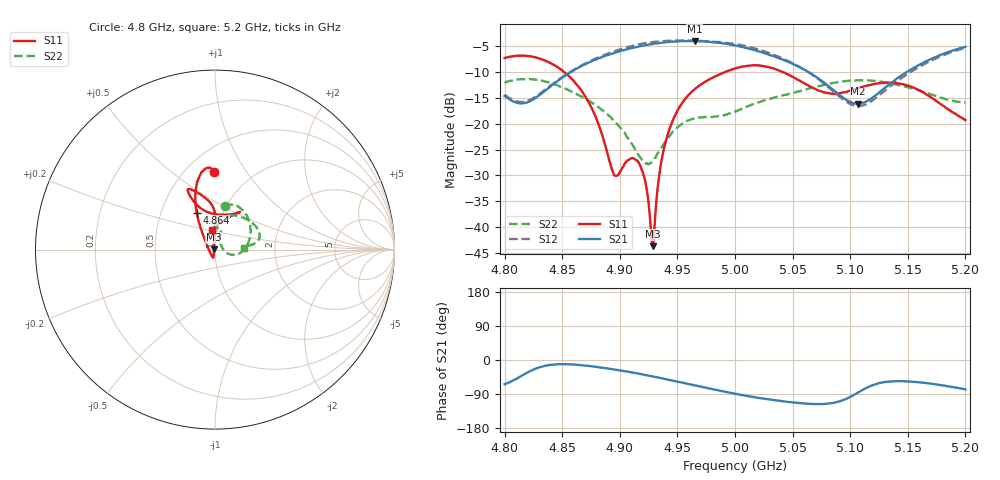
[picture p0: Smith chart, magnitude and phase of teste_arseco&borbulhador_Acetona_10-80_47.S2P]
! Network Analyzer HP8722D
! Hewlett-Packard
! Data name: Linha & Wilkinson
! Saver's name: Rodrigo Anjos
! Comments: Teste da utilização de aquisição
! continua pelo VNA HP8722D
! Time and date: 25/4/2025 15:39
!  Frequency  S11  S21  S12  S22
# HZ  S  MA R 50
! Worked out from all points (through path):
!   401 points, 4.8 GHz to 5.2 GHz, reference 50 ohm
!   highest |S21| = -3.94 dB at 4.965 GHz (marker M1); lowest = -16.1 dB at 5.107 GHz (marker M2)
!   lowest |S11| = -43.7 dB at 4.929 GHz (marker M3), VSWR 1.01, Z = 49.4 + j0.268 ohm
!   |S11| at or under -10 dB: 4.852 GHz to 4.991 GHz (139.2 MHz wide, 2.83 % of centre); 5.042 GHz to end of sweep
!   |S22| runs from -27.8 to -11.3 dB; largest |S21 - S12| = 1.2
!   S11 on the Smith chart (normalised r, x): 4.8 GHz: 0.68, +0.72; 4.864 GHz: 0.75, +0.33; 5.2 GHz: 0.94, +0.20
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4.8e9  0.4334 90.5  0.1863 -63.9  0.1913 69.6  0.2489 77.2
4.82e9  0.4526 96.8  0.1617 -32.5  0.1673 98.3  0.271 62.0
4.864e9  0.2302 116.3  0.3498 -13.0  0.3527 121.0  0.19 11.8
4.867e9  0.2072 118.0  0.3646 -13.8  0.3681 120.6  0.1827 8.6
4.88e9  0.1098 128.2  0.4231 -18.4  0.4332 118.3  0.1483 -5.4
4.895e9  0.03171 -171.1  0.4866 -24.9  0.5025 113.7  0.107 -15.9
4.909e9  0.04577 -105.5  0.5378 -32.0  0.5625 107.5  0.06729 -15.2
4.917e9  0.04079 -100.9  0.5626 -36.4  0.5906 103.5  0.04802 -1.8
4.922e9  0.028 -103.9  0.5767 -39.2  0.6036 100.7  0.04153 15.2
4.927e9  0.009368 -132.1  0.5902 -42.3  0.6167 97.5  0.04185 36.8
4.929e9  0.00652 155.5  0.594 -43.6  0.6212 96.5  0.04383 44.8
4.934e9  0.03042 99.3  0.6047 -46.8  0.6299 93.3  0.05387 58.3
4.939e9  0.06149 92.3  0.6159 -49.9  0.6358 90.0  0.06601 65.9
4.945e9  0.1011 89.8  0.6231 -53.8  0.6398 86.4  0.08108 70.4
4.965e9  0.2166 90.8  0.6351 -66.9  0.6385 73.4  0.1134 72.0
5e9  0.3438 109.0  0.576 -89.1  0.5934 50.7  0.1315 88.6
5.03e9  0.3522 115.1  0.4646 -104.1  0.4828 33.8  0.1741 85.5
5.067e9  0.2244 105.0  0.302 -116.1  0.2995 23.6  0.2228 57.2
5.107e9  0.2214 63.5  0.1566 -85.4  0.1484 57.7  0.2639 24.3
5.134e9  0.2501 56.7  0.2415 -56.8  0.2269 88.6  0.248 12.4
5.17e9  0.1808 70.0  0.4235 -62.5  0.4078 84.4  0.1934 6.8
5.2e9  0.1086 100.1  0.5569 -77.6  0.5463 70.3  0.1606 4.0
